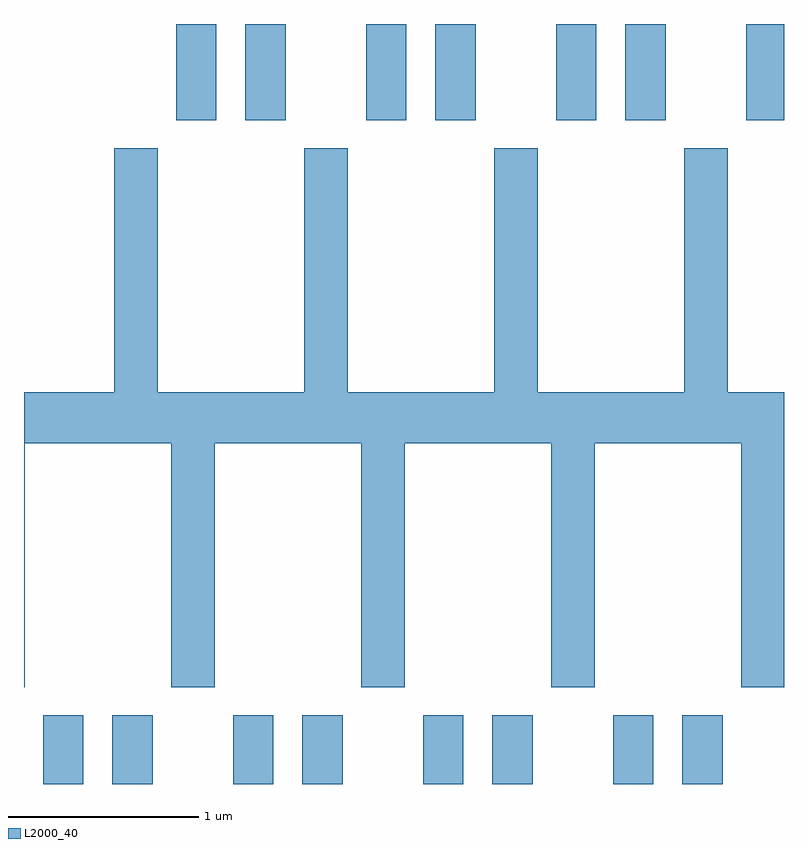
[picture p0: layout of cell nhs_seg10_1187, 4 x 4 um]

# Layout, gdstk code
import gdstk
lib = gdstk.Library(unit=1e-6, precision=1e-09)
def R(c, l, rs):  # rectangles x0, y0, x1, y1
    for r in rs: c.add(gdstk.rectangle(r[:2], r[2:], *l))
def P(c, l, *ps):  # polygons
    for p in ps: c.add(gdstk.Polygon(p, *l))
L2000_40 = (2000, 40)

nhs_seg10_1187 = lib.new_cell('nhs_seg10_1187')
R(nhs_seg10_1187, L2000_40, [(219.711,2156.522,219.924,2156.884), (220.076,2156.522,220.289,2156.884), (220.711,2156.522,220.924,2156.884), (221.076,2156.522,221.289,2156.884), (221.711,2156.522,221.924,2156.884), (222.076,2156.522,222.289,2156.884), (222.711,2156.522,222.924,2156.884), (223.076,2156.522,223.289,2156.884), (220.411,2160.016,220.624,2160.522), (220.776,2160.016,220.989,2160.522), (221.411,2160.016,221.624,2160.522), (221.776,2160.016,221.989,2160.522), (222.411,2160.016,222.624,2160.522), (222.776,2160.016,222.989,2160.522), (223.411,2160.016,223.611,2160.522)])
P(nhs_seg10_1187, L2000_40, [(219.614,2158.316),(220.386,2158.316),(220.386,2157.031),(220.614,2157.031),(220.614,2158.316),(221.386,2158.316),(221.386,2157.031),(221.614,2157.031),(221.614,2158.316),(222.386,2158.316),(222.386,2157.031),(222.614,2157.031),(222.614,2158.316),(223.386,2158.316),(223.386,2157.031),(223.611,2157.031),(223.611,2158.584),(223.314,2158.584),(223.314,2159.869),(223.086,2159.869),(223.086,2158.584),(222.314,2158.584),(222.314,2159.869),(222.086,2159.869),(222.086,2158.584),(221.314,2158.584),(221.314,2159.869),(221.086,2159.869),(221.086,2158.584),(220.314,2158.584),(220.314,2159.869),(220.086,2159.869),(220.086,2158.584),(219.611,2158.584),(219.611,2157.031),(219.614,2157.031)])

lib.write_gds('nhs_seg10_1187.gds')
